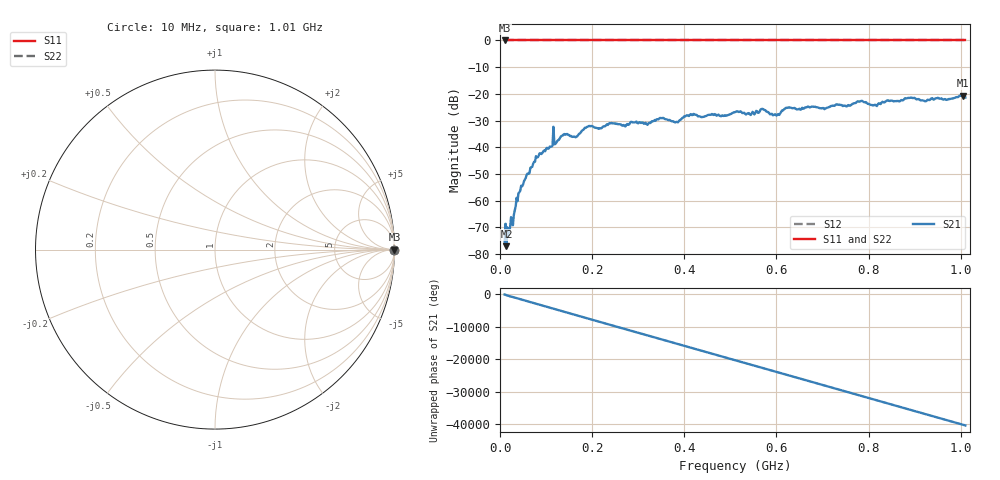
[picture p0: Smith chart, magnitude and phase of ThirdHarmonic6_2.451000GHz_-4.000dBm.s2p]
! 8/17/2025 4:22:38 AM
! C:\ANRITSUVNA\TEMP\TEMP.S2P
! CHANNEL.1
! TR.MEASUREMENT
! RAW.DATA
! RF.CORRECTION.OFF
! AVERAGING.OFF
! IF.BANDWIDTH: 5KHZ
! SWEEPTYPE:  FREQ.SWEEP(Linear)
! Reference Plane Port Info
! PORT:  PORT1  PORT2
! DISTANCE:  0  m  0  m
! TIME:  0  s  0  s
! PHASE.OFFSET:  0  deg.  0  deg.
! LOSS:  0  dB  0  dB
! REF.LOSS:  0  dB  0  dB
! REF.FREQ:  0  Hz  0  Hz
! Power Info
! POWER:  -20  dBm  -20  dBm
! EFF.POWER:  -20  dBm  -20  dBm
! SOURCE.ATTEN:  0  dB  0  dB
! TEST.ATTEN:  0  dB  0  dB
# GHZ S RI R 50.0
! FREQ.GHZ  S11RE  S11IM  S21RE  S21IM  S12RE  S12IM  S22RE  S22IM
!; PortSelection: Port_12
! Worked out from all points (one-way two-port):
!   501 points, 10 MHz to 1.01 GHz, reference 50 ohm
!   highest |S21| = -20.63 dB at 1.004 GHz (marker M1); lowest = -77.0 dB at 14 MHz (marker M2)
!   lowest |S11| = 0.0 dB at 10 MHz (marker M3)
!   |S11| at or under -10 dB: nowhere
!   |S22| runs from 0.0 to 0.0 dB; largest |S21 - S12| = 1.1
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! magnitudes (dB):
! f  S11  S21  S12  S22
! 10 MHz  0.0  -75.9  0.0  0.0
! 14 MHz  0.0  -77.0  0.0  0.0
! 30 MHz  0.0  -65.4  0.0  0.0
! 44 MHz  0.0  -56.2  0.0  0.0
! 82 MHz  0.0  -43.8  0.0  0.0
! 136 MHz  0.0  -35.6  0.0  0.0
! 164 MHz  0.0  -36.3  0.0  0.0
! 178 MHz  0.0  -33.8  0.0  0.0
! 194 MHz  0.0  -32.0  0.0  0.0
! 344 MHz  0.0  -29.6  0.0  0.0
! 382 MHz  0.0  -30.5  0.0  0.0
! 416 MHz  0.0  -27.9  0.0  0.0
! 510 MHz  0.0  -26.9  0.0  0.0
! 570 MHz  0.0  -25.6  0.0  0.0
! 602 MHz  0.0  -27.8  0.0  0.0
! 624 MHz  0.0  -25.1  0.0  0.0
! 678 MHz  0.0  -24.7  0.0  0.0
! 782 MHz  0.0  -22.8  0.0  0.0
! 814 MHz  0.0  -24.1  0.0  0.0
! 844 MHz  0.0  -22.6  0.0  0.0
! 1.004 GHz  0.0  -20.6  0.0  0.0
! 1.01 GHz  0.0  -21.4  0.0  0.0
